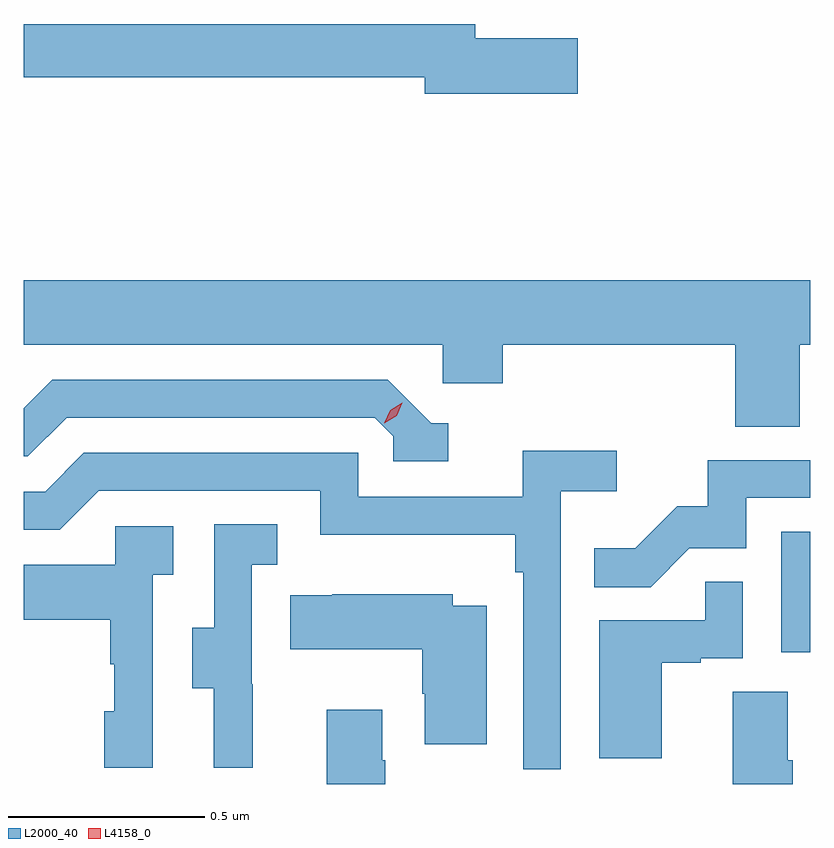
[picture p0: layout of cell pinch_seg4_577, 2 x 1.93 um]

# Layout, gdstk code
import gdstk
lib = gdstk.Library(unit=1e-6, precision=1e-09)
def R(c, l, rs):  # rectangles x0, y0, x1, y1
    for r in rs: c.add(gdstk.rectangle(r[:2], r[2:], *l))
def P(c, l, *ps):  # polygons
    for p in ps: c.add(gdstk.Polygon(p, *l))
L2000_40 = (2000, 40)
L4158_0 = (4158, 0)

pinch_seg4_577 = lib.new_cell('pinch_seg4_577')
R(pinch_seg4_577, L2000_40, [(1106.864,772.062,1106.938,772.369)])
P(pinch_seg4_577, L2000_40, [(1106.347,773.624),(1106.086,773.624),(1106.086,773.66),(1104.938,773.66),(1104.938,773.524),(1105.958,773.524),(1105.958,773.482),(1106.347,773.482)],
  [(1106.912,772.844),(1106.938,772.844),(1106.938,773.008),(1104.938,773.008),(1104.938,772.844),(1106.004,772.844),(1106.004,772.746),(1106.156,772.746),(1106.156,772.844),(1106.747,772.844),(1106.747,772.636),(1106.912,772.636)],
  [(1106.017,772.644),(1105.974,772.644),(1105.863,772.755),(1105.01,772.755),(1104.938,772.683),(1104.938,772.56),(1104.948,772.56),(1105.047,772.659),(1105.83,772.659),(1105.878,772.611),(1105.878,772.548),(1106.017,772.548)],
  [(1106.304,772.472),(1106.446,772.472),(1106.446,772.574),(1106.207,772.574),(1106.207,772.458),(1105.788,772.458),(1105.788,772.569),(1105.091,772.569),(1104.992,772.47),(1104.938,772.47),(1104.938,772.374),(1105.029,772.374),(1105.128,772.473),(1105.692,772.473),(1105.692,772.361),(1106.188,772.361),(1106.188,772.265),(1106.208,772.265),(1106.208,771.765),(1106.304,771.765)],
  [(1106.631,772.326),(1106.775,772.326),(1106.775,772.455),(1106.938,772.455),(1106.938,772.551),(1106.677,772.551),(1106.677,772.434),(1106.6,772.434),(1106.493,772.327),(1106.389,772.327),(1106.389,772.228),(1106.533,772.228)],
  [(1105.52,771.981),(1105.518,771.981),(1105.518,772.285),(1105.582,772.285),(1105.582,772.388),(1105.422,772.388),(1105.422,772.125),(1105.367,772.125),(1105.367,771.97),(1105.421,771.97),(1105.421,771.768),(1105.52,771.768)],
  [(1105.266,772.259),(1105.318,772.259),(1105.318,772.383),(1105.17,772.383),(1105.17,772.285),(1104.938,772.285),(1104.938,772.145),(1105.158,772.145),(1105.158,772.031),(1105.168,772.031),(1105.168,771.912),(1105.142,771.912),(1105.142,771.768),(1105.266,771.768)],
  [(1106.56,772.035),(1106.66,772.035),(1106.66,772.047),(1106.766,772.047),(1106.766,772.241),(1106.671,772.241),(1106.671,772.143),(1106.402,772.143),(1106.402,771.792),(1106.56,771.792)],
  [(1106.116,772.18),(1106.029,772.18),(1106.029,772.21),(1105.723,772.21),(1105.723,772.207),(1105.615,772.207),(1105.615,772.07),(1105.951,772.07),(1105.951,771.957),(1105.958,771.957),(1105.958,771.828),(1106.116,771.828)],
  [(1106.894,771.788),(1106.881,771.788),(1106.881,771.962),(1106.741,771.962),(1106.741,771.727),(1106.894,771.727)],
  [(1105.857,771.788),(1105.849,771.788),(1105.849,771.916),(1105.709,771.916),(1105.709,771.727),(1105.857,771.727)])
P(pinch_seg4_577, L4158_0, [(1105.855,772.644),(1105.855,772.644),(1105.87,772.677),(1105.901,772.697),(1105.901,772.697),(1105.901,772.697),(1105.886,772.664),(1105.855,772.644)])

lib.write_gds('pinch_seg4_577.gds')
